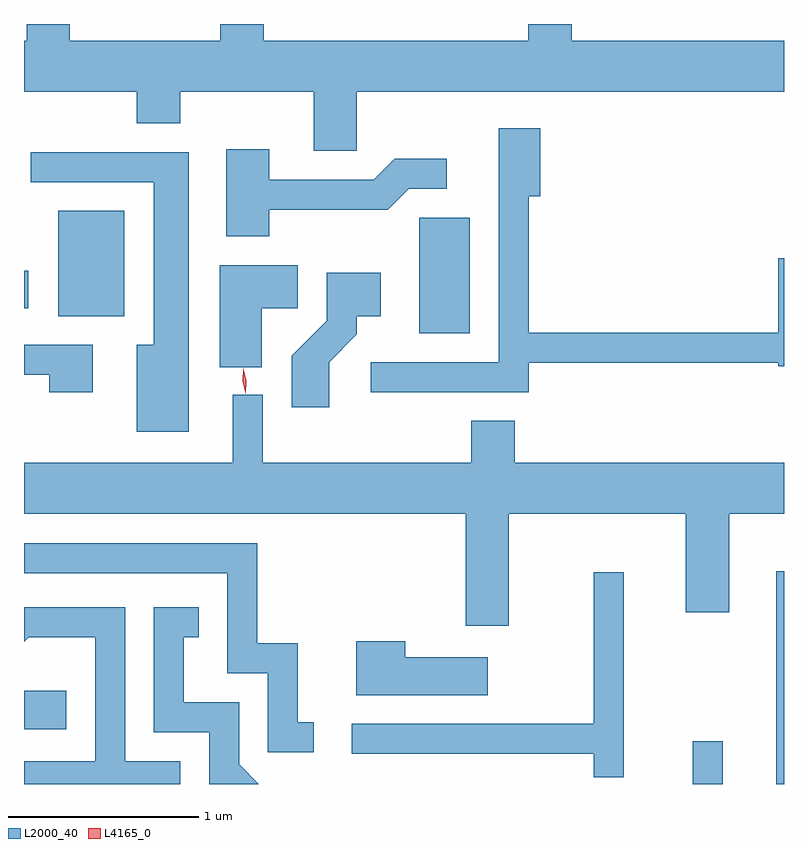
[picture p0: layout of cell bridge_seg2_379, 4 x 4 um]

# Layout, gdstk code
import gdstk
lib = gdstk.Library(unit=1e-6, precision=1e-09)
def R(c, l, rs):  # rectangles x0, y0, x1, y1
    for r in rs: c.add(gdstk.rectangle(r[:2], r[2:], *l))
def P(c, l, *ps):  # polygons
    for p in ps: c.add(gdstk.Polygon(p, *l))
L2000_40 = (2000, 40)
L4165_0 = (4165, 0)

bridge_seg2_379 = lib.new_cell('bridge_seg2_379')
R(bridge_seg2_379, L2000_40, [(603.316,1004.713,603.474,1004.938), (603.756,1004.713,603.797,1005.834), (599.797,1005.001,600.019,1005.204), (601.876,1007.086,602.144,1007.694), (599.976,1007.176,600.324,1007.729), (599.797,1007.216,599.819,1007.414)])
P(bridge_seg2_379, L2000_40, [(601.549,1008.356),(603.797,1008.356),(603.797,1008.624),(602.679,1008.624),(602.679,1008.713),(602.451,1008.713),(602.451,1008.624),(601.059,1008.624),(601.059,1008.713),(600.831,1008.713),(600.831,1008.624),(600.039,1008.624),(600.039,1008.713),(599.811,1008.713),(599.811,1008.624),(599.797,1008.624),(599.797,1008.356),(600.391,1008.356),(600.391,1008.191),(600.619,1008.191),(600.619,1008.356),(601.321,1008.356),(601.321,1008.046),(601.549,1008.046)],
  [(602.454,1006.931),(603.766,1006.931),(603.766,1006.911),(603.797,1006.911),(603.797,1007.479),(603.766,1007.479),(603.766,1007.089),(602.454,1007.089),(602.454,1007.806),(602.514,1007.806),(602.514,1008.164),(602.296,1008.164),(602.296,1006.934),(601.623,1006.934),(601.623,1006.776),(602.454,1006.776)],
  [(601.089,1007.736),(601.712,1007.736),(601.822,1007.846),(602.023,1007.846),(602.023,1008.004),(601.749,1008.004),(601.639,1007.894),(601.089,1007.894),(601.089,1008.054),(600.861,1008.054),(600.861,1007.596),(601.089,1007.596)],
  [(600.664,1008.039),(599.833,1008.039),(599.833,1007.881),(600.481,1007.881),(600.481,1007.024),(600.391,1007.024),(600.391,1006.566),(600.664,1006.566)],
  [(601.049,1007.216),(601.239,1007.216),(601.239,1007.444),(600.826,1007.444),(600.826,1006.906),(601.049,1006.906)],
  [(601.404,1006.934),(601.549,1007.079),(601.549,1007.176),(601.674,1007.176),(601.674,1007.404),(601.391,1007.404),(601.391,1007.152),(601.206,1006.967),(601.206,1006.696),(601.404,1006.696)],
  [(600.159,1007.024),(599.797,1007.024),(599.797,1006.866),(599.931,1006.866),(599.931,1006.776),(600.159,1006.776)],
  [(602.349,1006.136),(603.281,1006.136),(603.281,1005.616),(603.509,1005.616),(603.509,1006.136),(603.797,1006.136),(603.797,1006.404),(602.379,1006.404),(602.379,1006.624),(602.151,1006.624),(602.151,1006.404),(601.054,1006.404),(601.054,1006.763),(600.896,1006.763),(600.896,1006.404),(599.797,1006.404),(599.797,1006.136),(602.121,1006.136),(602.121,1005.546),(602.349,1005.546)],
  [(601.323,1005.039),(601.239,1005.039),(601.239,1005.454),(601.024,1005.454),(601.024,1005.979),(599.797,1005.979),(599.797,1005.821),(600.866,1005.821),(600.866,1005.296),(601.081,1005.296),(601.081,1004.881),(601.323,1004.881)],
  [(602.954,1005.828),(602.796,1005.828),(602.796,1005.029),(601.523,1005.029),(601.523,1004.871),(602.796,1004.871),(602.796,1004.748),(602.954,1004.748)],
  [(600.929,1004.817),(600.929,1005.144),(600.639,1005.144),(600.639,1005.486),(600.718,1005.486),(600.718,1005.644),(600.481,1005.644),(600.481,1004.986),(600.771,1004.986),(600.771,1004.714),(600.772,1004.713),(601.033,1004.713)],
  [(600.619,1004.834),(600.329,1004.834),(600.329,1005.644),(599.797,1005.644),(599.797,1005.461),(599.822,1005.486),(600.171,1005.486),(600.171,1004.834),(599.797,1004.834),(599.797,1004.713),(600.619,1004.713)],
  [(602.239,1005.379),(601.804,1005.379),(601.804,1005.464),(601.546,1005.464),(601.546,1005.181),(602.239,1005.181)])
P(bridge_seg2_379, L4165_0, [(600.964,1006.768),(600.964,1006.768),(600.948,1006.833),(600.951,1006.9),(600.952,1006.9),(600.952,1006.9),(600.968,1006.835),(600.965,1006.768)])

lib.write_gds('bridge_seg2_379.gds')
